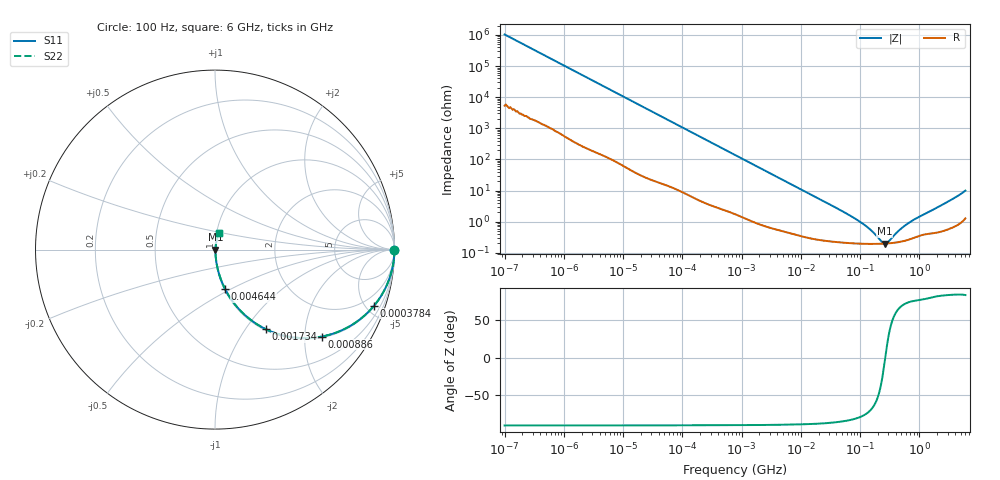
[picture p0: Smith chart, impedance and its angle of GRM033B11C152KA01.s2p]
!Murata Part Number: GRM033B11C152KA01
!These Parameters are Measured in Series Mode Connection
!Data Generated on Mar 30, 2021
!  o--ll--o
!Port1  Port2
!  o------o
!Operation Temp=25[degC], DC Bias Voltage=0[V]
!Freq. Start=100[Hz] Stop=6[GHz] 401[Steps]
# Hz S RI R 50
!Freq.(Hz) S11(Real) S11(Imag) S21(Real) S21(Imag) S12(Real) S12(Imag) S22(Real) S22(Imag)
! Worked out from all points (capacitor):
!   401 points, 100 Hz to 6 GHz, reference 50 ohm
!   read as one part in series: C = 1.53 nF near 109 Hz
!   lowest |Z| = 197 mohm at 261.2 MHz (marker M1)
!   series resonance near 266.4 MHz, so ESL is about 230 pH
!   S11 on the Smith chart (normalised r, x): 100 Hz: open; 378.4 kHz: 1.06, -5.67; 886 kHz: 1.03, -2.44; 1.734 MHz: 1.02, -1.25; 4.644 MHz: 1.01, -0.47; 6 GHz: 1.03, +0.20
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100  1 -9.62e-05  5e-07 9.62e-05  5e-07 9.62e-05  1 -9.62e-05
2008  1 -0.00191  1.34e-05 0.00191  1.34e-05 0.00191  1 -0.00191
40335  0.9983 -0.0379  0.0017 0.0379  0.0017 0.0379  0.9983 -0.0379
141303  0.9818 -0.1296  0.0182 0.1296  0.0182 0.1296  0.9818 -0.1296
378399  0.8871 -0.3115  0.1129 0.3115  0.1129 0.3115  0.8871 -0.3115
541393  0.7953 -0.3978  0.2047 0.3978  0.2047 0.3978  0.7953 -0.3978
774597  0.6581 -0.4682  0.3419 0.4682  0.3419 0.4682  0.6581 -0.4682
885955  0.5967 -0.4842  0.4033 0.4842  0.4033 0.4842  0.5967 -0.4842
1212075  0.4447 -0.4902  0.5553 0.4902  0.5553 0.4902  0.4447 -0.4902
1734173  0.2844 -0.444  0.7156 0.444  0.7156 0.444  0.2844 -0.444
2713602  0.1428 -0.3416  0.8572 0.3416  0.8572 0.3416  0.1428 -0.3416
4643984  0.0568 -0.2209  0.9432 0.2209  0.9432 0.2209  0.0568 -0.2209
1.555665e7  0.00776 -0.0702  0.9922 0.0702  0.9922 0.0702  0.00776 -0.0702
9.753859e7  0.00205 -0.00995  0.998 0.00995  0.998 0.00995  0.00205 -0.00995
1.459435e8  0.00194 -0.00538  0.9981 0.00538  0.9981 0.00538  0.00194 -0.00538
2.283698e8  0.00194 -0.0013  0.9981 0.0013  0.9981 0.0013  0.00194 -0.0013
2.61201e8  0.00196 -0.000164  0.998 0.000164  0.998 0.000164  0.00196 -0.000164
3.124326e8  0.00201 0.00135  0.998 -0.00135  0.998 -0.00135  0.00201 0.00135
4.674818e8  0.00224 0.00497  0.9978 -0.00497  0.9978 -0.00497  0.00224 0.00497
6.994765e8  0.0028 0.00926  0.9972 -0.00926  0.9972 -0.00926  0.0028 0.00926
2.679998e9  0.00654 0.0375  0.9935 -0.0375  0.9935 -0.0375  0.00654 0.0375
6e9  0.0218 0.095  0.9782 -0.095  0.9782 -0.095  0.0218 0.095
